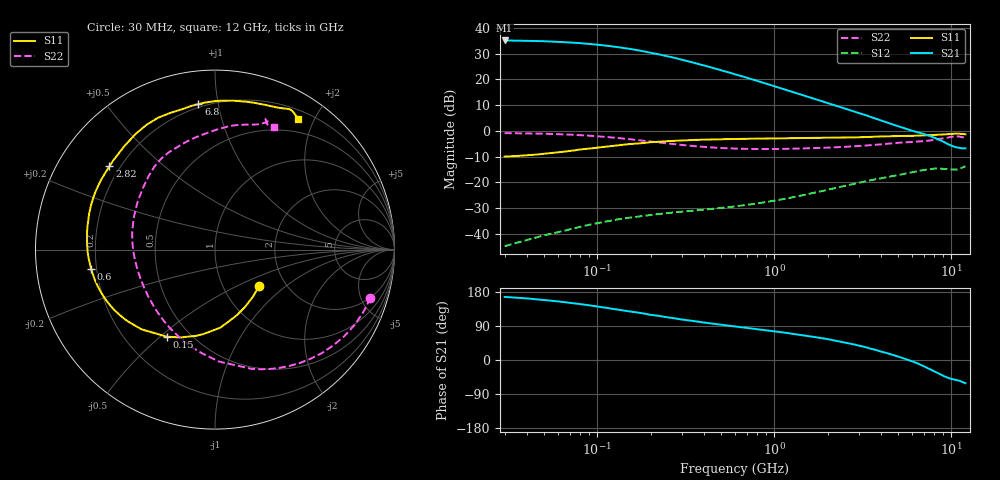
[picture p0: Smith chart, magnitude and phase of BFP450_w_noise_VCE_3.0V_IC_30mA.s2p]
! (c) 2015  Infineon Technologies AG, Munich
! Infineon Technologies  Discrete & RF Semiconductors
! BFP450
! VCE =  3.0 V,  IC =  30 mA
! Common Emitter S-Parameters:  Nov 2015
# GHz  S  MA  R  50
!  f  S11  S21  S12  S22
! GHz  MAG  ANG  MAG  ANG  MAG  ANG  MAG  ANG
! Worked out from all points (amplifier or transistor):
!   239 points, 30 MHz to 12 GHz, reference 50 ohm
!   highest |S21| = 35.1 dB at 30 MHz (marker M1)
!   |S21| within 3 dB of that: start of sweep to 143.9 MHz
!   unconditionally stable (mu >= 1): 1.429 GHz to end of sweep
!   at 300 MHz: K = 0.40, MSG = 29.5 dB, |S12| = -31.3 dB
!   at 1.88 GHz: K = 1.07, MAG = 15.7 dB, |S12| = -23.3 dB
!   at 12 GHz: K = 1.10, MAG = 1.5 dB, |S12| = -13.7 dB
!   lowest NFmin = 1.27 dB at 450 MHz
!   S11 on the Smith chart (normalised r, x): 30 MHz: 1.47, -0.67; 150 MHz: 0.38, -0.53; 600 MHz: 0.18, -0.08; 2.82 GHz: 0.16, +0.34; 6.8 GHz: 0.18, +0.88; 12 GHz: 0.32, +1.78
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0.03  0.3185 -39.8  56.98 166.5  0.0058 75.9  0.9073 -17.3
0.04  0.3368 -51.0  56.08 162.5  0.0076 74.1  0.8965 -22.9
0.05  0.3598 -62.0  55.07 158.3  0.0094 70.8  0.8836 -28.5
0.06  0.3851 -71.5  53.64 154.7  0.0108 67.7  0.8665 -33.9
0.07  0.4078 -79.2  52.09 150.8  0.0123 65.5  0.8477 -39.1
0.085  0.4443 -89.3  49.69 146.0  0.0144 62.0  0.8178 -46.4
0.11  0.4925 -102.5  45.6 138.4  0.0173 57.5  0.7684 -57.6
0.13  0.5258 -111.4  42.41 133.2  0.0191 54.3  0.7307 -65.6
0.15  0.5544 -118.9  39.46 128.5  0.0206 51.2  0.6958 -72.8
0.175  0.5751 -126.1  36.08 124.3  0.022 48.6  0.6538 -80.0
0.2  0.6042 -132.7  32.93 119.2  0.0235 46.3  0.6236 -88.1
0.24  0.6274 -140.1  28.96 113.9  0.0251 43.8  0.5799 -97.7
0.3  0.655 -149.2  24.1 106.9  0.0271 41.6  0.5347 -110.2
0.36  0.6702 -155.6  20.57 101.9  0.0286 40.6  0.5042 -119.8
0.45  0.6851 -162.8  16.68 95.7  0.0308 40.5  0.4762 -131.3
0.6  0.6989 -171.0  12.55 88.3  0.0343 41.4  0.4543 -145.0
1  0.7151 175.6  7.351 75.6  0.0442 44.6  0.4462 -166.3
1.64  0.7318 161.7  4.319 61.8  0.062 45.0  0.4628 174.3
2.82  0.7495 141.7  2.384 41.1  0.0941 37.1  0.503 149.8
4.5  0.7933 118.6  1.389 15.5  0.1297 21.3  0.5724 126.2
6.8  0.8158 96.5  0.897 -13.8  0.171 -0.3  0.63 101.4
12  0.8613 57.6  0.459 -61.3  0.2061 -40.3  0.756 64.4
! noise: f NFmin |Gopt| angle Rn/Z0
0.45  1.27  0.43  -175  0.06
0.9  1.34  0.47  -172  0.06
1.9  1.45  0.53  -157  0.08
2.4  1.58  0.55  -148  0.1
